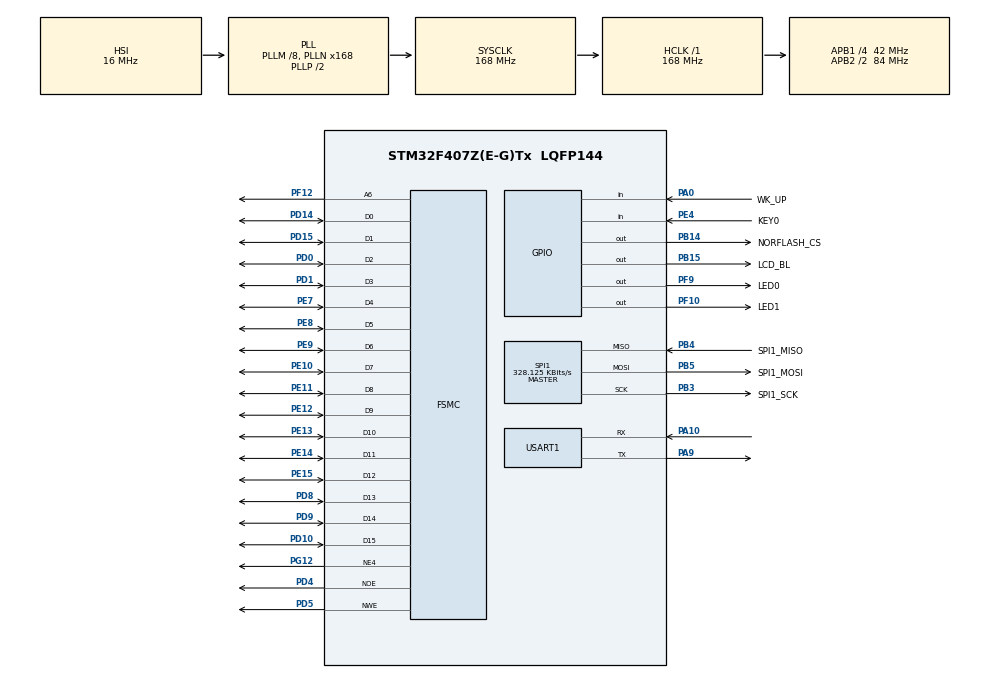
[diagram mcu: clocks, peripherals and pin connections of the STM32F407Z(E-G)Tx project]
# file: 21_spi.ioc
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FSMC.AddressSetupTime1=15
FSMC.BusTurnAroundDuration1=0
FSMC.DataSetupTime1=60
FSMC.ExtendedAddressSetupTime1=9
FSMC.ExtendedBusTurnAroundDuration1=0
FSMC.ExtendedDataSetupTime1=9
FSMC.ExtendedMode1=FSMC_EXTENDED_MODE_ENABLE
Mcu.Family=STM32F4
Mcu.Name=STM32F407Z(E-G)Tx
Mcu.Package=LQFP144
NVIC.PriorityGroup=NVIC_PRIORITYGROUP_2
NVIC.USART1_IRQn=true\:2\:2\:true\:false\:true\:true\:true\:true
PA0-WKUP.GPIO_Label=WK_UP
PA0-WKUP.GPIO_PuPd=GPIO_PULLDOWN
PA0-WKUP.Signal=GPIO_Input
PA10.GPIO_PuPd=GPIO_PULLUP
PA10.Mode=Asynchronous
PA10.Signal=USART1_RX
PA13.Mode=Serial_Wire
PA13.Signal=SYS_JTMS-SWDIO
PA14.Mode=Serial_Wire
PA14.Signal=SYS_JTCK-SWCLK
PA9.GPIO_PuPd=GPIO_PULLUP
PA9.Mode=Asynchronous
PA9.Signal=USART1_TX
PB14.GPIO_Label=NORFLASH_CS
PB14.GPIO_PuPd=GPIO_PULLUP
PB14.GPIO_Speed=GPIO_SPEED_FREQ_VERY_HIGH
PB14.PinState=GPIO_PIN_SET
PB14.Signal=GPIO_Output
PB15.GPIO_Label=LCD_BL
PB15.GPIO_PuPd=GPIO_PULLUP
PB15.GPIO_Speed=GPIO_SPEED_FREQ_VERY_HIGH
PB15.PinState=GPIO_PIN_SET
PB15.Signal=GPIO_Output
PB3.GPIO_Label=SPI1_SCK
PB3.GPIO_PuPd=GPIO_PULLUP
PB3.Mode=Full_Duplex_Master
PB3.Signal=SPI1_SCK
PB4.GPIO_Label=SPI1_MISO
PB4.GPIO_PuPd=GPIO_PULLUP
PB4.Mode=Full_Duplex_Master
PB4.Signal=SPI1_MISO
PB5.GPIO_Label=SPI1_MOSI
PB5.GPIO_PuPd=GPIO_PULLUP
PB5.Mode=Full_Duplex_Master
PB5.Signal=SPI1_MOSI
PC14-OSC32_IN.Mode=LSE-External-Oscillator
PC14-OSC32_IN.Signal=RCC_OSC32_IN
PC15-OSC32_OUT.Mode=LSE-External-Oscillator
PC15-OSC32_OUT.Signal=RCC_OSC32_OUT
PD0.Signal=FSMC_D2_DA2
PD1.Signal=FSMC_D3_DA3
PD10.Signal=FSMC_D15_DA15
PD14.Signal=FSMC_D0_DA0
PD15.Signal=FSMC_D1_DA1
PD4.Signal=FSMC_NOE
PD5.Signal=FSMC_NWE
PD8.Signal=FSMC_D13_DA13
PD9.Signal=FSMC_D14_DA14
PE10.Signal=FSMC_D7_DA7
PE11.Signal=FSMC_D8_DA8
PE12.Signal=FSMC_D9_DA9
PE13.Signal=FSMC_D10_DA10
PE14.Signal=FSMC_D11_DA11
PE15.Signal=FSMC_D12_DA12
PE4.GPIO_Label=KEY0
PE4.GPIO_PuPd=GPIO_PULLDOWN
PE4.Signal=GPIO_Input
PE7.Signal=FSMC_D4_DA4
PE8.Signal=FSMC_D5_DA5
PE9.Signal=FSMC_D6_DA6
PF10.GPIO_Label=LED1
PF10.GPIO_PuPd=GPIO_PULLDOWN
PF10.GPIO_Speed=GPIO_SPEED_FREQ_VERY_HIGH
PF10.PinState=GPIO_PIN_SET
PF10.Signal=GPIO_Output
PF12.Signal=FSMC_A6
PF9.GPIO_Label=LED0
PF9.GPIO_PuPd=GPIO_PULLDOWN
PF9.GPIO_Speed=GPIO_SPEED_FREQ_VERY_HIGH
PF9.PinState=GPIO_PIN_SET
PF9.Signal=GPIO_Output
PG12.Mode=NorPsramChipSelect4_1
PG12.Signal=FSMC_NE4
PH0-OSC_IN.Mode=HSE-External-Oscillator
PH0-OSC_IN.Signal=RCC_OSC_IN
PH1-OSC_OUT.Mode=HSE-External-Oscillator
PH1-OSC_OUT.Signal=RCC_OSC_OUT
ProjectManager.HeapSize=0x200
ProjectManager.StackSize=0x400
ProjectManager.TargetToolchain=STM32CubeIDE
RCC.48MHZClocksFreq_Value=84000000
RCC.AHBFreq_Value=168000000
RCC.APB1CLKDivider=RCC_HCLK_DIV4
RCC.APB1Freq_Value=42000000
RCC.APB1TimFreq_Value=84000000
RCC.APB2CLKDivider=RCC_HCLK_DIV2
RCC.APB2Freq_Value=84000000
RCC.APB2TimFreq_Value=168000000
RCC.CortexFreq_Value=168000000
RCC.HCLKFreq_Value=168000000
RCC.HSE_VALUE=25000000
RCC.HSI_VALUE=16000000
RCC.PLLM=8
RCC.PLLN=168
RCC.SYSCLKFreq_VALUE=168000000
RCC.SYSCLKSource=RCC_SYSCLKSOURCE_PLLCLK
RCC.VCOOutputFreq_Value=336000000
SH.FSMC_A6.0=FSMC_A6,A6_1
SH.FSMC_D0_DA0.0=FSMC_D0,16b-d1
SH.FSMC_D10_DA10.0=FSMC_D10,16b-d1
SH.FSMC_D11_DA11.0=FSMC_D11,16b-d1
SH.FSMC_D12_DA12.0=FSMC_D12,16b-d1
SH.FSMC_D13_DA13.0=FSMC_D13,16b-d1
SH.FSMC_D14_DA14.0=FSMC_D14,16b-d1
SH.FSMC_D15_DA15.0=FSMC_D15,16b-d1
SH.FSMC_D1_DA1.0=FSMC_D1,16b-d1
SH.FSMC_D2_DA2.0=FSMC_D2,16b-d1
SH.FSMC_D3_DA3.0=FSMC_D3,16b-d1
SH.FSMC_D4_DA4.0=FSMC_D4,16b-d1
SH.FSMC_D5_DA5.0=FSMC_D5,16b-d1
SH.FSMC_D6_DA6.0=FSMC_D6,16b-d1
SH.FSMC_D7_DA7.0=FSMC_D7,16b-d1
SH.FSMC_D8_DA8.0=FSMC_D8,16b-d1
SH.FSMC_D9_DA9.0=FSMC_D9,16b-d1
SH.FSMC_NOE.0=FSMC_NOE,Lcd1
SH.FSMC_NWE.0=FSMC_NWE,Lcd1
SPI1.BaudRatePrescaler=SPI_BAUDRATEPRESCALER_256
SPI1.CLKPhase=SPI_PHASE_2EDGE
SPI1.CLKPolarity=SPI_POLARITY_HIGH
SPI1.CalculateBaudRate=328.125 KBits/s
SPI1.Direction=SPI_DIRECTION_2LINES
SPI1.Mode=SPI_MODE_MASTER
SPI1.VirtualType=VM_MASTER
USART1.VirtualMode=VM_ASYNC
board=custom

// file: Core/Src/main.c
/* USER CODE BEGIN Header */
/**
 ****************************************************************************************************
 * @file        main.c
 * @author      ALIENTEK
 * @brief       SPI code
 * @license     Copyright (C) 2020-2032, ALIENTEK
 ****************************************************************************************************
 * @attention
 *
 * platform     : ALIENTEK M144-STM32F407 board
 * website      : https://www.alientek.com
 * forum        : http://www.openedv.com/forum.php
 *
 * change logs  :
 * version    data    notes
 * V1.0     20240410  the first version
 *
 ****************************************************************************************************
 */
/* USER CODE END Header */
#include "main.h"
#include "spi.h"
#include "usart.h"
#include "gpio.h"
#include "fsmc.h"

/* USER CODE BEGIN Includes */
#include "../../BSP/LED/led.h"
#include "../../BSP/KEY/key.h"
#include "../../BSP/LCD/lcd.h"
#include "../../BSP/NORFLASH/norflash.h"
#include "../../SYSTEM/delay/delay.h"
/* USER CODE END Includes */

/* USER CODE BEGIN PTD */

static const uint8_t g_text_buf[] = {"STM32 SPI TEST"};
#define TEXT_SIZE sizeof(g_text_buf)

/* USER CODE END PTD */

void SystemClock_Config(void);

int main(void)
{
  /* USER CODE BEGIN 1 */
    uint8_t t = 0;
    uint8_t key;
    uint8_t data[TEXT_SIZE];
    uint16_t id;
    uint32_t flashsize;
  /* USER CODE END 1 */

  /* MCU Configuration--------------------------------------------------------*/

  /* Reset of all peripherals, Initializes the Flash interface and the Systick. */
  HAL_Init();

  /* Configure the system clock */
  SystemClock_Config();

  /* USER CODE BEGIN SysInit */
  delay_init(168);
  /* USER CODE END SysInit */

  /* Initialize all configured peripherals */
  MX_GPIO_Init();
  MX_USART1_UART_Init();
  MX_FSMC_Init();
  MX_SPI1_Init();
  /* USER CODE BEGIN 2 */

  lcd_init();
  norflash_init();                    /* Initializes NOR Flash */

  lcd_show_string(30, 50, 200, 16, 16, "STM32", RED);
  lcd_show_string(30, 70, 200, 16, 16, "SPI TEST", RED);
  lcd_show_string(30, 90, 200, 16, 16, "ATOM@ALIENTEK", RED);

  lcd_show_string(30, 110, 200, 16, 16, "WK_UP:Write KEY0:Read", RED);

  id = norflash_read_id();
  while ((id == 0) || (id == 0xFFFF))
  {
      lcd_show_string(30, 130, 200, 16, 16, "NOR Flash Check Failed!", RED);
      delay_ms(500);
      lcd_show_string(30, 130, 200, 16, 16, "Please Check!          ", RED);
      delay_ms(500);
      LED0_TOGGLE();
  }
  lcd_show_string(30, 130, 200, 16, 16, "NOR Flash Ready!", RED);
  flashsize = 16 * 1024 * 1024;

  /* USER CODE END 2 */

  /* Infinite loop */
  while (1)
  {

      key = key_scan(0);
      if (key == WKUP_PRES)
      {
    	  /* Write data to NOR Flash */
          lcd_fill(0, 150, 239, 319, WHITE);
          lcd_show_string(30, 150, 200, 16, 16, "Start Write Flash....", BLUE);
          norflash_write((uint8_t *)g_text_buf, flashsize - TEXT_SIZE, TEXT_SIZE);
          lcd_show_string(30, 150, 200, 16, 16, "Flash Write Finished!", BLUE);
      }
      else if (key == KEY0_PRES)
      {
    	  /* Read data from NOR Flash */
          lcd_show_string(30, 150, 200, 16, 16, "Start Read Flash.... ", BLUE);
          norflash_read(data, flashsize - TEXT_SIZE, TEXT_SIZE);
          lcd_show_string(30, 150, 200, 16, 16, "The Data Readed Is:  ", BLUE);
          lcd_show_string(30, 170, 200, 16, 16, (char *)data, BLUE);
      }

      if (++t == 20)
      {
          t = 0;
          LED0_TOGGLE();
      }

      HAL_Delay(10);

  }
}

void SystemClock_Config(void)
{
  RCC_OscInitTypeDef RCC_OscInitStruct = {0};
  RCC_ClkInitTypeDef RCC_ClkInitStruct = {0};

  /** Configure the main internal regulator output voltage
  */
  __HAL_RCC_PWR_CLK_ENABLE();
  __HAL_PWR_VOLTAGESCALING_CONFIG(PWR_REGULATOR_VOLTAGE_SCALE1);

  /** Initializes the RCC Oscillators according to the specified parameters
  * in the RCC_OscInitTypeDef structure.
  */
  RCC_OscInitStruct.OscillatorType = RCC_OSCILLATORTYPE_HSI;
  RCC_OscInitStruct.HSIState = RCC_HSI_ON;
  RCC_OscInitStruct.HSICalibrationValue = RCC_HSICALIBRATION_DEFAULT;
  RCC_OscInitStruct.PLL.PLLState = RCC_PLL_ON;
  RCC_OscInitStruct.PLL.PLLSource = RCC_PLLSOURCE_HSI;
  RCC_OscInitStruct.PLL.PLLM = 8;
  RCC_OscInitStruct.PLL.PLLN = 168;
  RCC_OscInitStruct.PLL.PLLP = RCC_PLLP_DIV2;
  RCC_OscInitStruct.PLL.PLLQ = 4;
  if (HAL_RCC_OscConfig(&RCC_OscInitStruct) != HAL_OK)
  {
    Error_Handler();
  }

  /** Initializes the CPU, AHB and APB buses clocks
  */
  RCC_ClkInitStruct.ClockType = RCC_CLOCKTYPE_HCLK|RCC_CLOCKTYPE_SYSCLK
                              |RCC_CLOCKTYPE_PCLK1|RCC_CLOCKTYPE_PCLK2;
  RCC_ClkInitStruct.SYSCLKSource = RCC_SYSCLKSOURCE_PLLCLK;
  RCC_ClkInitStruct.AHBCLKDivider = RCC_SYSCLK_DIV1;
  RCC_ClkInitStruct.APB1CLKDivider = RCC_HCLK_DIV4;
  RCC_ClkInitStruct.APB2CLKDivider = RCC_HCLK_DIV2;

  if (HAL_RCC_ClockConfig(&RCC_ClkInitStruct, FLASH_LATENCY_5) != HAL_OK)
  {
    Error_Handler();
  }
}

void Error_Handler(void)
{
  __disable_irq();
  while (1)
  {
  }
}
